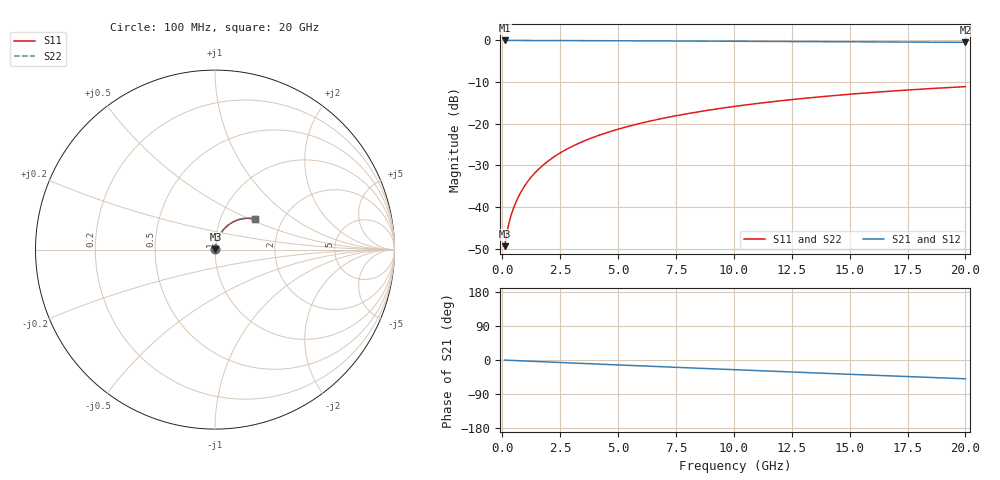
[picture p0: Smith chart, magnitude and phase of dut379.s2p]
! Touchstone file exported from HFSS 2026.1.0
!  File:  C:/ffzhzh/LocalFiles/Ansys_Project_Files/temp_train_BSMRDL_379_1783011940_51716.aedt
!  Generated:  01:07:17 AM Jul  3, 2026
!  Design:  BSMRDL
!  Project:  temp_train_BSMRDL_379_1783011940_51716
! Variables:
!  h_bsmrdl = 4.91um
!  h_ox = 20um
!  h_rdl = 5um
!  h_sub = 80um
!  h_tmrdl = 5um
!  h_tsv = 80um
!  h_via = 3um
!  l_bsmrdl = 829.71um
!  l_sub = 1229.71um
!  l_tmrdl = 200um
!  m_sub = 200um
!  pitch = 40.54um
!  r_tsv = 6um
!  s_tmrdl = 10um
!  w_bsmrdl = 25.25um
!  w_sub = 500um
!  w_tmrdl = 12um
!  x_tsv_center1 = 206um
!  x_tsv_center2 = 1060.96um
!  x_tsv_center3 = 1272.96um
!  x_tsv_center4 = 2127.92um
!  x_tsv_center5 = 2339.92um
!  x_tsv_center6 = 3194.88um
# GHz S MA R 50.000000
! Terminal data exported
! Port[1] = BSM_RDL1_1_T1
! Port[2] = BSM_RDL1_1_T2
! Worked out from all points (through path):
!   200 points, 100 MHz to 20 GHz, reference 50 ohm
!   highest |S21| = -0.02 dB at 100 MHz (marker M1); lowest = -0.5 dB at 20 GHz (marker M2)
!   group delay of S21, straight-line fit = 6.87 ps
!   lowest |S11| = -49.4 dB at 100 MHz (marker M3), VSWR 1.01, Z = 50.3 + j0.217 ohm
!   |S11| at or under -10 dB: start of sweep to end of sweep
!   |S22| runs from -49.4 to -11.1 dB; largest |S21 - S12| = 2.1e-14
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0.1  0.003404 39.2  0.9974 -0.3  0.9974 -0.3  0.003404 39.2
! Gamma 0 0 0 0
! Port Impedance 50 0 50 0
0.2  0.005022 54.2  0.9971 -0.6  0.9971 -0.6  0.005022 54.2
0.3  0.006664 61.4  0.9969 -0.8  0.9969 -0.8  0.006664 61.4
0.4  0.008309 65.9  0.9967 -1.1  0.9967 -1.1  0.008309 65.9
0.5  0.009977 69.1  0.9966 -1.3  0.9966 -1.3  0.009977 69.1
0.6  0.01167 71.3  0.9965 -1.6  0.9965 -1.6  0.01167 71.3
0.8  0.01511 74.3  0.9964 -2.1  0.9964 -2.1  0.01511 74.3
1.1  0.02034 76.5  0.9961 -2.9  0.9961 -2.9  0.02033 76.5
1.3  0.02384 77.2  0.9959 -3.5  0.9959 -3.5  0.02384 77.2
1.6  0.0291 77.7  0.9955 -4.2  0.9955 -4.2  0.0291 77.7
2.1  0.0378 77.6  0.9948 -5.5  0.9948 -5.5  0.0378 77.6
2.7  0.04812 76.8  0.9938 -7.1  0.9938 -7.1  0.04812 76.8
3.5  0.06159 75.3  0.9922 -9.2  0.9922 -9.2  0.06159 75.3
4.2  0.07312 73.8  0.9907 -11.0  0.9907 -11.0  0.07312 73.8
5  0.08603 72.1  0.9889 -13.0  0.9889 -13.0  0.08602 72.1
5.9  0.1002 70.0  0.9868 -15.3  0.9868 -15.3  0.1002 70.0
6.8  0.1141 68.0  0.9846 -17.6  0.9846 -17.6  0.1141 68.0
8.3  0.1366 64.6  0.9808 -21.3  0.9808 -21.3  0.1366 64.6
10.1  0.1624 60.4  0.9759 -25.8  0.9759 -25.8  0.1624 60.4
13.4  0.2063 52.8  0.9664 -33.9  0.9664 -33.9  0.2063 52.8
16.7  0.2452 45.2  0.9564 -41.8  0.9564 -41.8  0.2452 45.3
20  0.2786 37.7  0.9466 -49.6  0.9466 -49.6  0.2786 37.8
